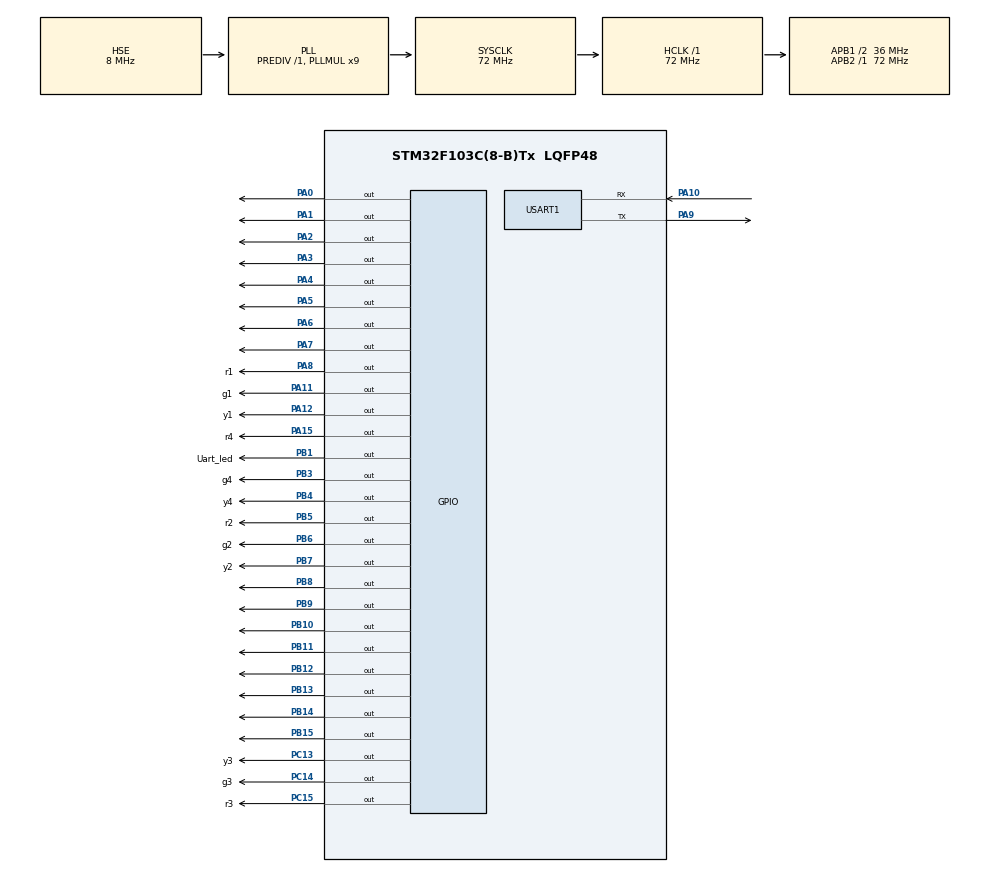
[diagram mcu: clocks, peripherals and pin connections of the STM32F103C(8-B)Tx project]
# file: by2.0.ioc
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Mcu.Family=STM32F1
Mcu.Name=STM32F103C(8-B)Tx
Mcu.Package=LQFP48
NVIC.PriorityGroup=NVIC_PRIORITYGROUP_4
NVIC.TIM2_IRQn=true\:0\:0\:false\:false\:true\:true\:true\:true
NVIC.TIM3_IRQn=true\:0\:0\:false\:false\:true\:true\:true\:true
NVIC.TIM4_IRQn=true\:0\:0\:false\:false\:true\:true\:true\:true
NVIC.USART1_IRQn=true\:0\:0\:false\:false\:true\:true\:true\:true
PA0-WKUP.GPIO_ModeDefaultOutputPP=GPIO_MODE_OUTPUT_PP
PA0-WKUP.GPIO_PuPd=GPIO_NOPULL
PA0-WKUP.GPIO_Speed=GPIO_SPEED_FREQ_HIGH
PA0-WKUP.PinState=GPIO_PIN_RESET
PA0-WKUP.Signal=GPIO_Output
PA1.GPIO_ModeDefaultOutputPP=GPIO_MODE_OUTPUT_PP
PA1.GPIO_PuPd=GPIO_NOPULL
PA1.GPIO_Speed=GPIO_SPEED_FREQ_HIGH
PA1.PinState=GPIO_PIN_RESET
PA1.Signal=GPIO_Output
PA10.Mode=Asynchronous
PA10.Signal=USART1_RX
PA11.GPIO_Label=g1
PA11.GPIO_ModeDefaultOutputPP=GPIO_MODE_OUTPUT_PP
PA11.GPIO_PuPd=GPIO_NOPULL
PA11.GPIO_Speed=GPIO_SPEED_FREQ_MEDIUM
PA11.PinState=GPIO_PIN_SET
PA11.Signal=GPIO_Output
PA12.GPIO_Label=y1
PA12.GPIO_ModeDefaultOutputPP=GPIO_MODE_OUTPUT_PP
PA12.GPIO_PuPd=GPIO_NOPULL
PA12.GPIO_Speed=GPIO_SPEED_FREQ_MEDIUM
PA12.PinState=GPIO_PIN_SET
PA12.Signal=GPIO_Output
PA13.Mode=Serial_Wire
PA13.Signal=SYS_JTMS-SWDIO
PA14.Mode=Serial_Wire
PA14.Signal=SYS_JTCK-SWCLK
PA15.GPIO_Label=r4
PA15.GPIO_Speed=GPIO_SPEED_FREQ_MEDIUM
PA15.PinState=GPIO_PIN_SET
PA15.Signal=GPIO_Output
PA2.GPIO_ModeDefaultOutputPP=GPIO_MODE_OUTPUT_PP
PA2.GPIO_PuPd=GPIO_NOPULL
PA2.GPIO_Speed=GPIO_SPEED_FREQ_HIGH
PA2.PinState=GPIO_PIN_RESET
PA2.Signal=GPIO_Output
PA3.GPIO_ModeDefaultOutputPP=GPIO_MODE_OUTPUT_PP
PA3.GPIO_PuPd=GPIO_NOPULL
PA3.GPIO_Speed=GPIO_SPEED_FREQ_HIGH
PA3.PinState=GPIO_PIN_RESET
PA3.Signal=GPIO_Output
PA4.GPIO_ModeDefaultOutputPP=GPIO_MODE_OUTPUT_PP
PA4.GPIO_PuPd=GPIO_NOPULL
PA4.GPIO_Speed=GPIO_SPEED_FREQ_HIGH
PA4.PinState=GPIO_PIN_RESET
PA4.Signal=GPIO_Output
PA5.GPIO_ModeDefaultOutputPP=GPIO_MODE_OUTPUT_PP
PA5.GPIO_PuPd=GPIO_NOPULL
PA5.GPIO_Speed=GPIO_SPEED_FREQ_HIGH
PA5.PinState=GPIO_PIN_RESET
PA5.Signal=GPIO_Output
PA6.GPIO_ModeDefaultOutputPP=GPIO_MODE_OUTPUT_PP
PA6.GPIO_PuPd=GPIO_NOPULL
PA6.GPIO_Speed=GPIO_SPEED_FREQ_HIGH
PA6.PinState=GPIO_PIN_RESET
PA6.Signal=GPIO_Output
PA7.GPIO_ModeDefaultOutputPP=GPIO_MODE_OUTPUT_PP
PA7.GPIO_PuPd=GPIO_NOPULL
PA7.GPIO_Speed=GPIO_SPEED_FREQ_HIGH
PA7.PinState=GPIO_PIN_RESET
PA7.Signal=GPIO_Output
PA8.GPIO_Label=r1
PA8.GPIO_ModeDefaultOutputPP=GPIO_MODE_OUTPUT_PP
PA8.GPIO_PuPd=GPIO_NOPULL
PA8.GPIO_Speed=GPIO_SPEED_FREQ_MEDIUM
PA8.PinState=GPIO_PIN_SET
PA8.Signal=GPIO_Output
PA9.Mode=Asynchronous
PA9.Signal=USART1_TX
PB1.GPIO_Label=Uart_led
PB1.Signal=GPIO_Output
PB10.GPIO_ModeDefaultOutputPP=GPIO_MODE_OUTPUT_PP
PB10.GPIO_PuPd=GPIO_NOPULL
PB10.GPIO_Speed=GPIO_SPEED_FREQ_HIGH
PB10.PinState=GPIO_PIN_RESET
PB10.Signal=GPIO_Output
PB11.GPIO_ModeDefaultOutputPP=GPIO_MODE_OUTPUT_PP
PB11.GPIO_PuPd=GPIO_NOPULL
PB11.GPIO_Speed=GPIO_SPEED_FREQ_HIGH
PB11.PinState=GPIO_PIN_RESET
PB11.Signal=GPIO_Output
PB12.GPIO_ModeDefaultOutputPP=GPIO_MODE_OUTPUT_PP
PB12.GPIO_PuPd=GPIO_NOPULL
PB12.GPIO_Speed=GPIO_SPEED_FREQ_HIGH
PB12.PinState=GPIO_PIN_RESET
PB12.Signal=GPIO_Output
PB13.GPIO_ModeDefaultOutputPP=GPIO_MODE_OUTPUT_PP
PB13.GPIO_PuPd=GPIO_NOPULL
PB13.GPIO_Speed=GPIO_SPEED_FREQ_HIGH
PB13.PinState=GPIO_PIN_RESET
PB13.Signal=GPIO_Output
PB14.GPIO_ModeDefaultOutputPP=GPIO_MODE_OUTPUT_PP
PB14.GPIO_PuPd=GPIO_NOPULL
PB14.GPIO_Speed=GPIO_SPEED_FREQ_HIGH
PB14.PinState=GPIO_PIN_RESET
PB14.Signal=GPIO_Output
PB15.GPIO_ModeDefaultOutputPP=GPIO_MODE_OUTPUT_PP
PB15.GPIO_PuPd=GPIO_NOPULL
PB15.GPIO_Speed=GPIO_SPEED_FREQ_HIGH
PB15.PinState=GPIO_PIN_RESET
PB15.Signal=GPIO_Output
PB3.GPIO_Label=g4
PB3.GPIO_Speed=GPIO_SPEED_FREQ_MEDIUM
PB3.PinState=GPIO_PIN_SET
PB3.Signal=GPIO_Output
PB4.GPIO_Label=y4
PB4.GPIO_Speed=GPIO_SPEED_FREQ_MEDIUM
PB4.PinState=GPIO_PIN_SET
PB4.Signal=GPIO_Output
PB5.GPIO_Label=r2
PB5.GPIO_PuPd=GPIO_NOPULL
PB5.GPIO_Speed=GPIO_SPEED_FREQ_MEDIUM
PB5.Signal=GPIO_Output
PB6.GPIO_Label=g2
PB6.GPIO_PuPd=GPIO_NOPULL
PB6.GPIO_Speed=GPIO_SPEED_FREQ_MEDIUM
PB6.Signal=GPIO_Output
PB7.GPIO_Label=y2
PB7.GPIO_PuPd=GPIO_NOPULL
PB7.GPIO_Speed=GPIO_SPEED_FREQ_MEDIUM
PB7.Signal=GPIO_Output
PB8.GPIO_ModeDefaultOutputPP=GPIO_MODE_OUTPUT_PP
PB8.GPIO_PuPd=GPIO_NOPULL
PB8.GPIO_Speed=GPIO_SPEED_FREQ_HIGH
PB8.PinState=GPIO_PIN_RESET
PB8.Signal=GPIO_Output
PB9.GPIO_ModeDefaultOutputPP=GPIO_MODE_OUTPUT_PP
PB9.GPIO_PuPd=GPIO_NOPULL
PB9.GPIO_Speed=GPIO_SPEED_FREQ_HIGH
PB9.PinState=GPIO_PIN_RESET
PB9.Signal=GPIO_Output
PC13-TAMPER-RTC.GPIO_Label=y3
PC13-TAMPER-RTC.GPIO_ModeDefaultOutputPP=GPIO_MODE_OUTPUT_PP
PC13-TAMPER-RTC.GPIO_PuPd=GPIO_NOPULL
PC13-TAMPER-RTC.GPIO_Speed=GPIO_SPEED_FREQ_MEDIUM
PC13-TAMPER-RTC.PinState=GPIO_PIN_SET
PC13-TAMPER-RTC.Signal=GPIO_Output
PC14-OSC32_IN.GPIO_Label=g3
PC14-OSC32_IN.GPIO_ModeDefaultOutputPP=GPIO_MODE_OUTPUT_PP
PC14-OSC32_IN.GPIO_PuPd=GPIO_NOPULL
PC14-OSC32_IN.GPIO_Speed=GPIO_SPEED_FREQ_MEDIUM
PC14-OSC32_IN.PinState=GPIO_PIN_SET
PC14-OSC32_IN.Signal=GPIO_Output
PC15-OSC32_OUT.GPIO_Label=r3
PC15-OSC32_OUT.GPIO_ModeDefaultOutputPP=GPIO_MODE_OUTPUT_PP
PC15-OSC32_OUT.GPIO_PuPd=GPIO_NOPULL
PC15-OSC32_OUT.GPIO_Speed=GPIO_SPEED_FREQ_MEDIUM
PC15-OSC32_OUT.PinState=GPIO_PIN_SET
PC15-OSC32_OUT.Signal=GPIO_Output
PD0-OSC_IN.Mode=HSE-External-Oscillator
PD0-OSC_IN.Signal=RCC_OSC_IN
PD1-OSC_OUT.Mode=HSE-External-Oscillator
PD1-OSC_OUT.Signal=RCC_OSC_OUT
ProjectManager.HeapSize=0x200
ProjectManager.StackSize=0x400
ProjectManager.TargetToolchain=STM32CubeIDE
RCC.AHBFreq_Value=72000000
RCC.APB1CLKDivider=RCC_HCLK_DIV2
RCC.APB1Freq_Value=36000000
RCC.APB1TimFreq_Value=72000000
RCC.APB2Freq_Value=72000000
RCC.APB2TimFreq_Value=72000000
RCC.HCLKFreq_Value=72000000
RCC.PLLMUL=RCC_PLL_MUL9
RCC.PLLSourceVirtual=RCC_PLLSOURCE_HSE
RCC.SYSCLKFreq_VALUE=72000000
RCC.SYSCLKSource=RCC_SYSCLKSOURCE_PLLCLK
RCC.USBFreq_Value=72000000
TIM2.AutoReloadPreload=TIM_AUTORELOAD_PRELOAD_ENABLE
TIM2.Period=999
TIM2.Prescaler=71
TIM3.Period=999
TIM3.Prescaler=71
TIM4.Period=999
TIM4.Prescaler=71
USART1.VirtualMode=VM_ASYNC
VP_TIM2_VS_ClockSourceINT.Mode=Internal
VP_TIM3_VS_ClockSourceINT.Mode=Internal
VP_TIM4_VS_ClockSourceINT.Mode=Internal
board=custom

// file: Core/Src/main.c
/* USER CODE BEGIN Header */
/**
  ******************************************************************************
  * @file           : main.c
  * @brief          : Main program body
  ******************************************************************************
  * @attention
  *
  * Copyright (c) 2024 STMicroelectronics.
  * All rights reserved.
  *
  * This software is licensed under terms that can be found in the LICENSE file
  * in the root directory of this software component.
  * If no LICENSE file comes with this software, it is provided AS-IS.
  *
  ******************************************************************************
  */
/* USER CODE END Header */
#include "main.h"
#include "tim.h"
#include "usart.h"
#include "gpio.h"

/* USER CODE BEGIN Includes */
#include "Led.h"
#include "string.h"
//#include "Uart.h"
/* USER CODE END Includes */

/* USER CODE BEGIN PD */

// 定义数码管位选引�?????????????????????

/* USER CODE END PD */

/* USER CODE BEGIN PV */
uint16_t dispaly_val;
const uint16_t digit_codes[] = {
        0x003F, 0x0006, 0x005B, 0x004F, 0x0066, 0x006D, 0x007D, 0x0007, 0x007F, 0x006F,
        0x0000};
uint8_t digbuf[] = {
        11,11,11,11,11,11,11,11
};
uint8_t digcom=0;
uint16_t countdown_value = 20;
uint16_t counter = 0;

uint16_t uart_counter=0;
uint8_t rx_data[1]={0};

uint16_t init_total_cycle=60;
uint16_t init_red_time=30;
uint16_t init_green_time=25;
uint16_t init_yellow_time=5;

typedef struct {

    uint16_t red_time;          // 红灯时间，单位根据实际需求设定（如秒�????????????
    uint16_t green_time;        // 绿灯时间，单位同�????????????
    uint16_t yellow_time;       // 黄灯时间，单位同�????????????
    uint16_t total_cycle;       // 总周期，即一个完整的红绿黄灯循环时间
    uint8_t light_state;        // 0:红灯�????????????1:绿灯�????????????2:黄灯

    uint16_t display_time;
} traffic_light;
traffic_light trafficLight_1;

traffic_light trafficLight_2;

traffic_light trafficLight_3;

traffic_light trafficLight_4;

/* USER CODE END PV */

void SystemClock_Config(void);

/* USER CODE BEGIN 0 */
void trafficLight_init()
{
    trafficLight_1.total_cycle=init_total_cycle;
    trafficLight_2.total_cycle=init_total_cycle;
    trafficLight_3.total_cycle=init_total_cycle;
    trafficLight_4.total_cycle=init_total_cycle;

    trafficLight_1.red_time=init_red_time;
    trafficLight_2.red_time=init_red_time;
    trafficLight_3.red_time=init_red_time;
    trafficLight_4.red_time=init_red_time;

    trafficLight_1.green_time=init_green_time;
    trafficLight_2.green_time=init_green_time;
    trafficLight_3.green_time=init_green_time;
    trafficLight_4.green_time=init_green_time;

    trafficLight_1.yellow_time=init_yellow_time;
    trafficLight_2.yellow_time=init_yellow_time;
    trafficLight_3.yellow_time=init_yellow_time;
    trafficLight_4.yellow_time=init_yellow_time;

    trafficLight_1.light_state=0;
    trafficLight_2.light_state=0;
    trafficLight_3.light_state=1;
    trafficLight_4.light_state=1;

}

void seg_display()
{
    digbuf[0]=trafficLight_1.display_time/10;
    digbuf[1]=trafficLight_1.display_time%10;

    digbuf[2]=trafficLight_2.display_time/10;;
    digbuf[3]=trafficLight_2.display_time%10;;

    digbuf[4]=trafficLight_3.display_time/10;
    digbuf[5]=trafficLight_3.display_time%10;

    digbuf[6]=trafficLight_4.display_time/10;
    digbuf[7]=trafficLight_4.display_time%10;

}
void trafficLight_control()
{
    switch (trafficLight_1.light_state) {
        case 0:
            r1_on();
            g1_off();
            y1_off();
            break;
        case 1:
            r1_off();
            g1_on();
            y1_off();
            break;
        case 2:
            r1_off();
            g1_off();
            y1_on();
            break;

        default:
            break;
    }
    switch (trafficLight_2.light_state) {
        case 0:
            r2_on();
            g2_off();
            y2_off();
            break;
        case 1:
            r2_off();
            g2_on();
            y2_off();
            break;
        case 2:
            r2_off();
            g2_off();
            y2_on();
            break;

        default:
            break;
    }

    switch (trafficLight_3.light_state) {
        case 0:
            r3_on();
            g3_off();
            y3_off();
            break;
        case 1:
            r3_off();
            g3_on();
            y3_off();
            break;
        case 2:
            r3_off();
            g3_off();
            y3_on();
            break;

        default:
            break;
    }

    switch (trafficLight_4.light_state) {
        case 0:
            r4_on();
            g4_off();
            y4_off();
            break;
        case 1:
            r4_off();
            g4_on();
            y4_off();
            break;
        case 2:
            r4_off();
            g4_off();
            y4_on();
            break;

        default:
            break;
    }

}
/* USER CODE END 0 */

int main(void)
{
  /* USER CODE BEGIN 1 */
    trafficLight_init();

  /* USER CODE END 1 */

  /* MCU Configuration--------------------------------------------------------*/

  /* Reset of all peripherals, Initializes the Flash interface and the Systick. */
  HAL_Init();

  /* Configure the system clock */
  SystemClock_Config();

  /* Initialize all configured peripherals */
  MX_GPIO_Init();
  MX_TIM3_Init();
  MX_TIM4_Init();
  MX_USART1_UART_Init();
  MX_TIM2_Init();
  /* USER CODE BEGIN 2 */
    HAL_TIM_Base_Start_IT(&htim2);

    HAL_TIM_Base_Start_IT(&htim3);
    HAL_TIM_Base_Start_IT(&htim4);

    HAL_UART_Receive_IT(&huart1, rx_data, 1);

  /* USER CODE END 2 */

  /* Infinite loop */
  /* USER CODE BEGIN WHILE */
    while (1)
    {
        seg_display();
        trafficLight_control();

    /* USER CODE END WHILE */

    }
}

void SystemClock_Config(void)
{
  RCC_OscInitTypeDef RCC_OscInitStruct = {0};
  RCC_ClkInitTypeDef RCC_ClkInitStruct = {0};

  /** Initializes the RCC Oscillators according to the specified parameters
  * in the RCC_OscInitTypeDef structure.
  */
  RCC_OscInitStruct.OscillatorType = RCC_OSCILLATORTYPE_HSE;
  RCC_OscInitStruct.HSEState = RCC_HSE_ON;
  RCC_OscInitStruct.HSEPredivValue = RCC_HSE_PREDIV_DIV1;
  RCC_OscInitStruct.HSIState = RCC_HSI_ON;
  RCC_OscInitStruct.PLL.PLLState = RCC_PLL_ON;
  RCC_OscInitStruct.PLL.PLLSource = RCC_PLLSOURCE_HSE;
  RCC_OscInitStruct.PLL.PLLMUL = RCC_PLL_MUL9;
  if (HAL_RCC_OscConfig(&RCC_OscInitStruct) != HAL_OK)
  {
    Error_Handler();
  }

  /** Initializes the CPU, AHB and APB buses clocks
  */
  RCC_ClkInitStruct.ClockType = RCC_CLOCKTYPE_HCLK|RCC_CLOCKTYPE_SYSCLK
                              |RCC_CLOCKTYPE_PCLK1|RCC_CLOCKTYPE_PCLK2;
  RCC_ClkInitStruct.SYSCLKSource = RCC_SYSCLKSOURCE_PLLCLK;
  RCC_ClkInitStruct.AHBCLKDivider = RCC_SYSCLK_DIV1;
  RCC_ClkInitStruct.APB1CLKDivider = RCC_HCLK_DIV2;
  RCC_ClkInitStruct.APB2CLKDivider = RCC_HCLK_DIV1;

  if (HAL_RCC_ClockConfig(&RCC_ClkInitStruct, FLASH_LATENCY_2) != HAL_OK)
  {
    Error_Handler();
  }
}

/* USER CODE BEGIN 4 */
void HAL_UART_RxCpltCallback(UART_HandleTypeDef  *huart)
{
    if (huart->Instance==USART1)
    {
        HAL_UART_Receive_IT(&huart1, rx_data, 1);
        switch (rx_data[0]) {
            case '1':
                HAL_UART_Transmit_IT(&huart1,"okok111111111111\r\n",sizeof("okok111111111111\r\n"));
                break;
            default:
                HAL_UART_Transmit_IT(&huart1,"okok\r\n",sizeof("okok\r\n"));
                break;
        }
    }
}
void HAL_TIM_PeriodElapsedCallback(TIM_HandleTypeDef *htim)
{
    if (htim->Instance==TIM2)
    {
        if (uart_counter++==500)
        {
            //HAL_UART_Transmit(&huart1,"okok\r\n",sizeof("okok\r\n"),10000);
            uart_counter=0;
        }
    }

    if(htim->Instance==TIM3)
    {
        GPIOA->ODR=~(0x0001<<digcom);
        GPIOB->ODR=digit_codes[digbuf[digcom]]<<8;
        if (++digcom==8) {
            digcom = 0;
        }
    }
    if(htim->Instance==TIM4)
    {
        if(counter++==1000)
        {

            // 根据交�?�灯1的当前状态，更新其显示时间和状�?�，并�?�减对应颜色的显示时�????????????
            switch (trafficLight_1.light_state) {
                case 0: // 红灯状�??
                    trafficLight_1.display_time=trafficLight_1.red_time; // 设置当前显示时间为红灯时�????????????
                    trafficLight_1.red_time--; // 红灯时间递减
                    if(trafficLight_1.red_time==0) // 当红灯时间用完后
                    {
                        trafficLight_1.light_state=1; // 更改状�?�为绿灯
                        trafficLight_1.red_time=init_red_time; // 重置红灯时间
                    }
                    break;
                case 1: // 绿灯状�??
                    trafficLight_1.display_time=trafficLight_1.green_time; // 设置当前显示时间为绿灯时�????????????
                    trafficLight_1.green_time--; // 绿灯时间递减
                    if(trafficLight_1.green_time==0) // 当绿灯时间用完后
                    {
                        trafficLight_1.light_state=2; // 更改状�?�为黄灯
                        trafficLight_1.green_time=init_green_time; // 重置绿灯时间
                    }
                    break;
                case 2: // 黄灯状�??
                    trafficLight_1.display_time=trafficLight_1.yellow_time; // 设置当前显示时间为黄灯时�????????????
                    trafficLight_1.yellow_time--; // 黄灯时间递减
                    if(trafficLight_1.yellow_time==0) // 当黄灯时间用完后
                    {
                        trafficLight_1.light_state=0; // 更改状�?�为红灯
                        trafficLight_1.yellow_time=init_yellow_time; // 重置黄灯时间
                    }
                    break;
            }
            // 根据交�?�灯2的当前状态，更新其显示时间和状�?�，并�?�减对应颜色的显示时�????????????
            switch (trafficLight_2.light_state) {
                case 0: // 红灯状�??
                    trafficLight_2.display_time=trafficLight_2.red_time; // 设置当前显示时间为红灯时�????????????
                    trafficLight_2.red_time--; // 红灯时间递减
                    if(trafficLight_2.red_time==0) // 当红灯时间用完后
                    {
                        trafficLight_2.light_state=1; // 更改状�?�为绿灯
                        trafficLight_2.red_time=init_red_time; // 重置红灯时间
                    }
                    break;
                case 1: // 绿灯状�??
                    trafficLight_2.display_time=trafficLight_2.green_time; // 设置当前显示时间为绿灯时�????????????
                    trafficLight_2.green_time--; // 绿灯时间递减
                    if(trafficLight_2.green_time==0) // 当绿灯时间用完后
                    {
                        trafficLight_2.light_state=2; // 更改状�?�为黄灯
                        trafficLight_2.green_time=init_green_time; // 重置绿灯时间
                    }
                    break;
                case 2: // 黄灯状�??
                    trafficLight_2.display_time=trafficLight_2.yellow_time; // 设置当前显示时间为黄灯时�????????????
                    trafficLight_2.yellow_time--; // 黄灯时间递减
                    if(trafficLight_2.yellow_time==0) // 当黄灯时间用完后
                    {
                        trafficLight_2.light_state=0; // 更改状�?�为红灯
                        trafficLight_2.yellow_time=init_yellow_time; // 重置黄灯时间
                    }
                    break;
            }
            // 根据交�?�灯3的当前状态，更新其显示时间和状�?�，并�?�减对应颜色的显示时�????????????
            switch (trafficLight_3.light_state) {
                case 0: // 红灯状�??
                    trafficLight_3.display_time=trafficLight_3.red_time; // 设置当前显示时间为红灯时�????????????
                    trafficLight_3.red_time--; // 红灯时间递减
                    if(trafficLight_3.red_time==0) // 当红灯时间用完后
                    {
                        trafficLight_3.light_state=1; // 更改状�?�为绿灯
                        trafficLight_3.red_time=init_red_time; // 重置红灯时间
                    }
                    break;
                case 1: // 绿灯状�??
                    trafficLight_3.display_time=trafficLight_3.green_time; // 设置当前显示时间为绿灯时�????????????
                    trafficLight_3.green_time--; // 绿灯时间递减
                    if(trafficLight_3.green_time==0) // 当绿灯时间用完后
                    {
                        trafficLight_3.light_state=2; // 更改状�?�为黄灯
                        trafficLight_3.green_time=init_green_time; // 重置绿灯时间
                    }
                    break;
                case 2: // 黄灯状�??
                    trafficLight_3.display_time=trafficLight_3.yellow_time; // 设置当前显示时间为黄灯时�????????????
                    trafficLight_3.yellow_time--; // 黄灯时间递减
                    if(trafficLight_3.yellow_time==0) // 当黄灯时间用完后
                    {
                        trafficLight_3.light_state=0; // 更改状�?�为红灯
                        trafficLight_3.yellow_time=init_yellow_time; // 重置黄灯时间
                    }
                    break;
            }
            // 根据交�?�灯4的当前状态，更新其显示时间和状�?�，并�?�减对应颜色的显示时�????????????
            switch (trafficLight_4.light_state) {
                case 0: // 红灯状�??
                    trafficLight_4.display_time=trafficLight_4.red_time; // 设置当前显示时间为红灯时�????????????
                    trafficLight_4.red_time--; // 红灯时间递减

                    if(trafficLight_4.red_time==0) // 当红灯时间用完后
                    {
                        trafficLight_4.light_state=1; // 更改状�?�为绿灯
                        trafficLight_4.red_time=init_red_time; // 重置红灯时间
                    }
                    break;
                case 1: // 绿灯状�??
                    trafficLight_4.display_time=trafficLight_4.green_time; // 设置当前显示时间为绿灯时�????????????
                    trafficLight_4.green_time--; // 绿灯时间递减
                    if(trafficLight_4.green_time==0) // 当绿灯时间用完后
                    {
                        trafficLight_4.light_state=2; // 更改状�?�为黄灯
                        trafficLight_4.green_time=init_green_time; // 重置绿灯时间
                    }
                    break;
                case 2: // 黄灯状�??
                    trafficLight_4.display_time=trafficLight_4.yellow_time; // 设置当前显示时间为黄灯时�????????????
                    trafficLight_4.yellow_time--; // 黄灯时间递减
                    if(trafficLight_4.yellow_time==0) // 当黄灯时间用完后
                    {
                        trafficLight_4.light_state=0; // 更改状�?�为红灯
                        trafficLight_4.yellow_time=init_yellow_time; // 重置黄灯时间
                    }
                    break;
            }

            counter=0;
        }
    }

}
/* USER CODE END 4 */

void Error_Handler(void)
{
    __disable_irq();
    while (1)
    {
    }
}
